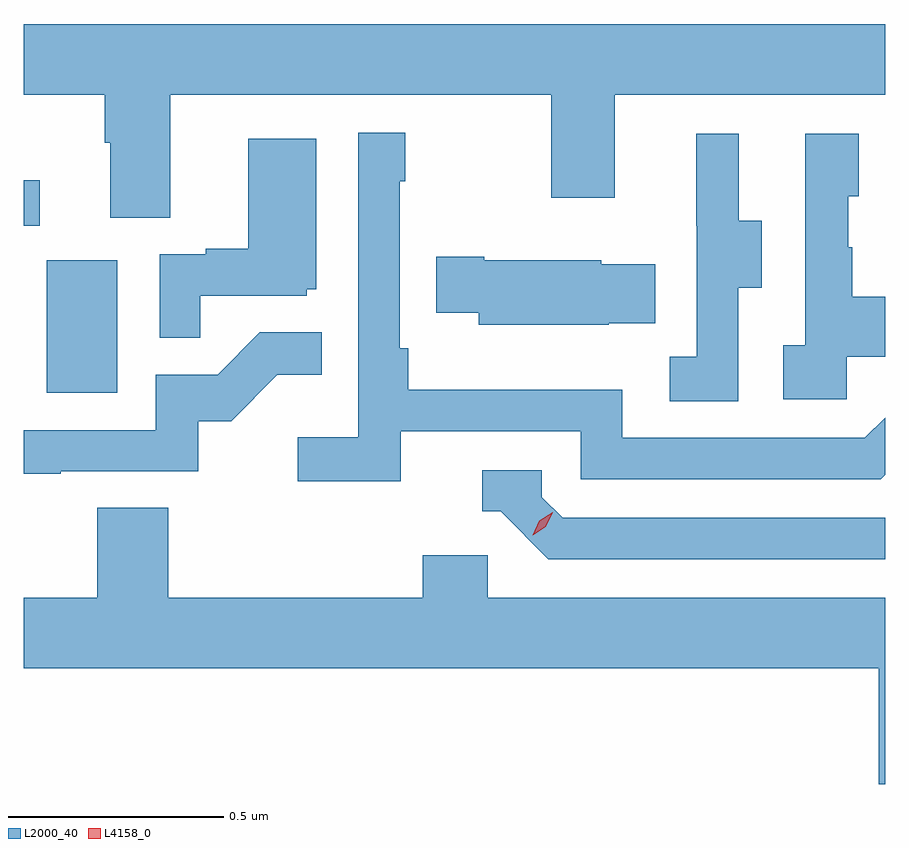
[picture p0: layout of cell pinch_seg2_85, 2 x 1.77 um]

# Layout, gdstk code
import gdstk
lib = gdstk.Library(unit=1e-6, precision=1e-09)
def R(c, l, rs):  # rectangles x0, y0, x1, y1
    for r in rs: c.add(gdstk.rectangle(r[:2], r[2:], *l))
def P(c, l, *ps):  # polygons
    for p in ps: c.add(gdstk.Polygon(p, *l))
L2000_40 = (2000, 40)
L4158_0 = (4158, 0)

pinch_seg2_85 = lib.new_cell('pinch_seg2_85')
R(pinch_seg2_85, L2000_40, [(1060.868,658.932,1061.032,659.239), (1060.815,659.319,1060.852,659.425)])
P(pinch_seg2_85, L2000_40, [(1061.155,659.624),(1062.04,659.624),(1062.04,659.385),(1062.187,659.385),(1062.187,659.624),(1062.815,659.624),(1062.815,659.788),(1060.815,659.788),(1060.815,659.624),(1061.003,659.624),(1061.003,659.512),(1061.015,659.512),(1061.015,659.338),(1061.155,659.338)],
  [(1061.69,658.842),(1062.108,658.842),(1062.108,658.731),(1062.805,658.731),(1062.815,658.741),(1062.815,658.874),(1062.768,658.827),(1062.204,658.827),(1062.204,658.939),(1061.708,658.939),(1061.708,659.035),(1061.688,659.035),(1061.688,659.423),(1061.701,659.423),(1061.701,659.536),(1061.592,659.536),(1061.592,658.828),(1061.451,658.828),(1061.451,658.726),(1061.69,658.726)],
  [(1062.726,659.015),(1062.815,659.015),(1062.815,659.155),(1062.739,659.155),(1062.739,659.27),(1062.729,659.27),(1062.729,659.388),(1062.754,659.388),(1062.754,659.533),(1062.63,659.533),(1062.63,659.042),(1062.579,659.042),(1062.579,658.917),(1062.726,658.917)],
  [(1062.474,659.176),(1062.529,659.176),(1062.529,659.331),(1062.475,659.331),(1062.475,659.533),(1062.377,659.533),(1062.377,659.319),(1062.378,659.319),(1062.378,659.015),(1062.315,659.015),(1062.315,658.912),(1062.474,658.912)],
  [(1061.225,659.157),(1061.472,659.157),(1061.472,659.172),(1061.494,659.172),(1061.494,659.521),(1061.336,659.521),(1061.336,659.266),(1061.237,659.266),(1061.237,659.253),(1061.13,659.253),(1061.13,659.059),(1061.225,659.059)],
  [(1062.173,659.093),(1062.281,659.093),(1062.281,659.23),(1062.156,659.23),(1062.156,659.239),(1061.884,659.239),(1061.884,659.247),(1061.773,659.247),(1061.773,659.117),(1061.871,659.117),(1061.871,659.09),(1062.173,659.09)],
  [(1060.901,658.749),(1061.22,658.749),(1061.22,658.866),(1061.296,658.866),(1061.403,658.973),(1061.507,658.973),(1061.507,659.072),(1061.363,659.072),(1061.265,658.974),(1061.121,658.974),(1061.121,658.845),(1060.815,658.845),(1060.815,658.744),(1060.901,658.744)],
  [(1062.815,658.641),(1062.066,658.641),(1062.018,658.689),(1062.018,658.752),(1061.879,658.752),(1061.879,658.656),(1061.922,658.656),(1062.033,658.545),(1062.815,658.545)],
  [(1062.815,658.456),(1061.892,658.456),(1061.892,658.554),(1061.741,658.554),(1061.741,658.456),(1061.15,658.456),(1061.15,658.664),(1060.985,658.664),(1060.985,658.456),(1060.815,658.456),(1060.815,658.292),(1062.8,658.292),(1062.8,658.023),(1062.815,658.023)])
P(pinch_seg2_85, L4158_0, [(1061.997,658.601),(1061.997,658.601),(1062.012,658.634),(1062.043,658.654),(1062.043,658.654),(1062.043,658.654),(1062.027,658.621),(1061.997,658.601)])

lib.write_gds('pinch_seg2_85.gds')
